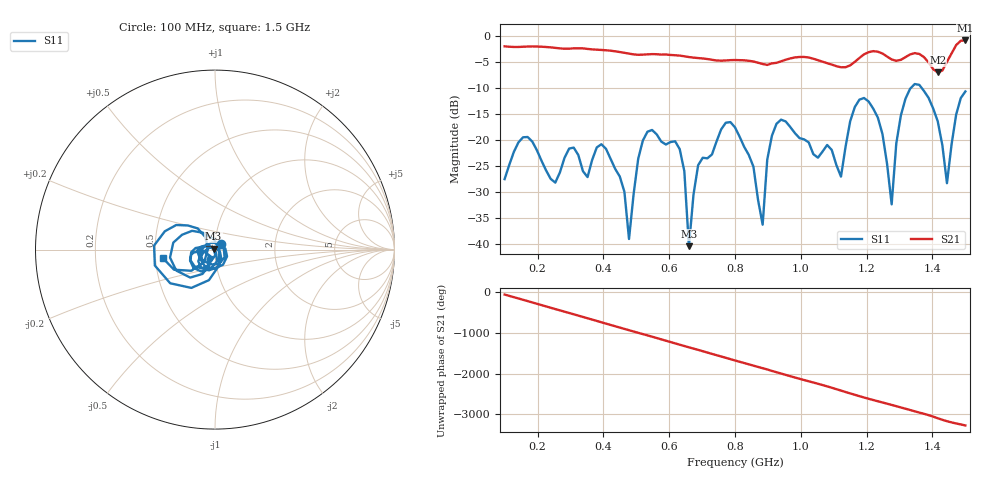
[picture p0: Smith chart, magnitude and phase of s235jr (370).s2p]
! NanoVNA-App
! Date: 2025-09-25 15:07:02
! Start: 100MHz Stop: 1,5GHz Points: 101
! S-Parameter data: F S11 S21 S12 S22
# Hz S RI R 50
!  Frequency  S11_Real  S11_Imag  S21_Real  S21_Imag  S12_Real  S12_Imag  S22_Real  S22_Imag
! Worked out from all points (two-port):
!   101 points, 100 MHz to 1.5 GHz, reference 50 ohm
!   highest |S21| = -0.83 dB at 1.5 GHz (marker M1); lowest = -7.0 dB at 1.416 GHz (marker M2)
!   |S21| within 3 dB of the highest: start of sweep to 641.7 MHz; 1.185 GHz to 1.26 GHz (74.66 MHz wide, 6.11 % of centre) (the widest 2 of 4)
!   lowest |S11| = -40.3 dB at 660 MHz (marker M3), VSWR 1.02, Z = 49.2 + j0.549 ohm
!   |S11| at or under -10 dB: start of sweep to 1.334 GHz; 1.368 GHz to end of sweep
!   S12 and S22 are empty: the file has one direction only
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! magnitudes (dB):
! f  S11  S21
! 100 MHz  -27.5  -2.0
! 156 MHz  -19.4  -2.0
! 338 MHz  -25.9  -2.4
! 408 MHz  -21.6  -2.7
! 478 MHz  -39.0  -3.4
! 520 MHz  -20.1  -3.6
! 576 MHz  -20.3  -3.5
! 632 MHz  -21.7  -3.7
! 660 MHz  -40.3  -4.0
! 688 MHz  -24.8  -4.2
! 800 MHz  -17.5  -4.6
! 884 MHz  -36.2  -5.4
! 926 MHz  -16.8  -5.1
! 1.038 GHz  -22.7  -4.3
! 1.122 GHz  -27.0  -6.0
! 1.192 GHz  -11.9  -3.5
! 1.248 GHz  -18.8  -3.3
! 1.276 GHz  -32.3  -4.5
! 1.332 GHz  -10.1  -3.5
! 1.416 GHz  -16.4  -7.0
! 1.444 GHz  -28.2  -4.9
! 1.5 GHz  -10.6  -0.8
